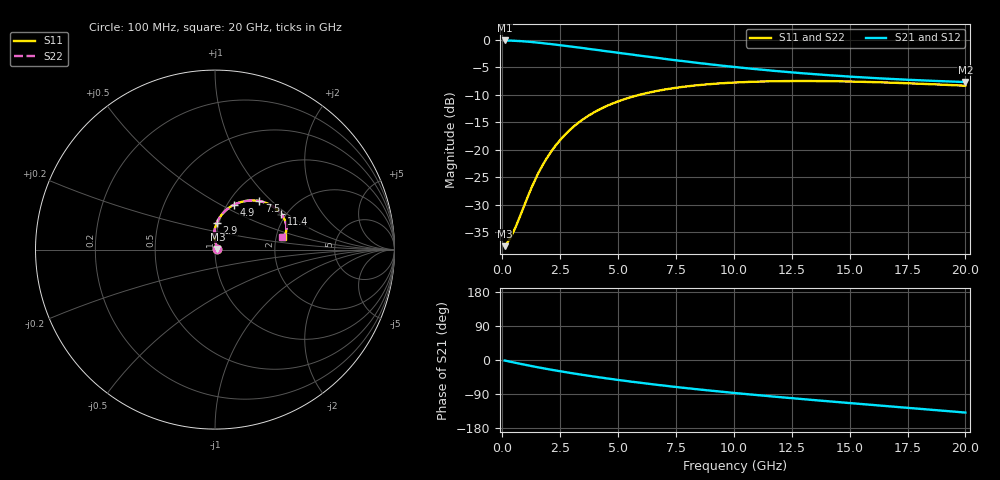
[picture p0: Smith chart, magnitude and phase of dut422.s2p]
! Touchstone file exported from HFSS 2024.1.0
!  File:  C:/UserFiles/LocalFiles/RDL_TSV_Batchsim/temp_RDL_TSV_422_1779717780.aedt
!  Generated:  10:19:09 PM May 25, 2026
!  Design:  RDL_TSV
!  Project:  temp_RDL_TSV_422_1779717780
!  Setup:  Setup1
!  Solution:  Sweep
! Variables:
!  dtsv = 8.5um
!  hbump = 3um
!  htsv = 71.13um
!  ldown = 384.78um
!  lrdl = 164.93um
!  p = 40
!  p1 = 58.03um
!  rhole = 10um
!  subl = 1814.06um
!  t = 450um
!  tdown = 3.5um
!  trdl = 4.95um
!  viad = 10um
!  wdown = 11.61um
!  wrdl = 21.03um
!  xbump = 18um
# GHz S MA R 50.000000
! Terminal data exported
! Port[1] = TM1_1_T1
! Port[2] = TM1_4_T1
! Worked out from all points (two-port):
!   200 points, 100 MHz to 20 GHz, reference 50 ohm
!   highest |S21| = -0.12 dB at 100 MHz (marker M1); lowest = -7.7 dB at 20 GHz (marker M2)
!   |S21| within 3 dB of the highest: start of sweep to 6.378 GHz
!   lowest |S11| = -37.5 dB at 100 MHz (marker M3), VSWR 1.03, Z = 51.3 + j0.307 ohm
!   |S11| at or under -10 dB: start of sweep to 5.919 GHz
!   |S22| runs from -37.5 to -7.5 dB; largest |S21 - S12| = 2.3e-14
!   S11 on the Smith chart (normalised r, x): 100 MHz: 1.03, +0.01; 2.9 GHz: 0.98, +0.30; 4.9 GHz: 1.07, +0.58; 7.5 GHz: 1.35, +0.85; 11.4 GHz: 1.88, +0.91; 20 GHz: 2.17, +0.35
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0.1  0.01335 12.9  0.9866 -1.3  0.9866 -1.3  0.01335 12.9
! Gamma 0 0 0 0
! Port Impedance 50 0 50 0
0.3  0.0153 35.0  0.9845 -4.0  0.9845 -4.0  0.0153 35.0
0.5  0.01841 52.8  0.9807 -6.6  0.9807 -6.6  0.01841 52.8
0.7  0.02301 67.3  0.9757 -9.1  0.9757 -9.1  0.02301 67.3
1.3  0.04725 89.5  0.9538 -16.5  0.9538 -16.5  0.04722 89.4
1.7  0.07006 92.7  0.9352 -21.1  0.9352 -21.1  0.07001 92.7
2  0.08922 92.5  0.9201 -24.5  0.9201 -24.5  0.08915 92.4
2.3  0.1094 91.0  0.9044 -27.7  0.9044 -27.7  0.1093 90.9
2.6  0.1299 88.7  0.8884 -30.8  0.8884 -30.8  0.1298 88.7
2.9  0.1505 86.1  0.8722 -33.8  0.8722 -33.8  0.1504 86.1
3.5  0.1904 80.3  0.8401 -39.5  0.8401 -39.5  0.1902 80.3
4.2  0.2332 73.6  0.8033 -45.9  0.8033 -45.9  0.233 73.5
4.9  0.2709 67.1  0.7678 -51.8  0.7678 -51.8  0.2707 67.1
5.8  0.3115 59.6  0.7246 -59.0  0.7246 -59.0  0.3113 59.5
6.8  0.347 52.1  0.6803 -66.3  0.6803 -66.3  0.3467 52.1
7.5  0.3666 47.5  0.6518 -71.2  0.6518 -71.2  0.3663 47.5
8.8  0.3933 40.1  0.6045 -79.6  0.6045 -79.6  0.3929 40.0
10.1  0.41 33.8  0.5643 -87.5  0.5643 -87.5  0.4096 33.7
11.4  0.4191 28.5  0.5304 -94.8  0.5304 -94.8  0.4187 28.4
13.4  0.4223 21.9  0.4888 -105.5  0.4888 -105.5  0.4218 21.8
16.7  0.4088 14.3  0.442 -122.2  0.442 -122.2  0.4083 14.2
20  0.3828 10.4  0.4135 -138.7  0.4135 -138.7  0.3822 10.4
